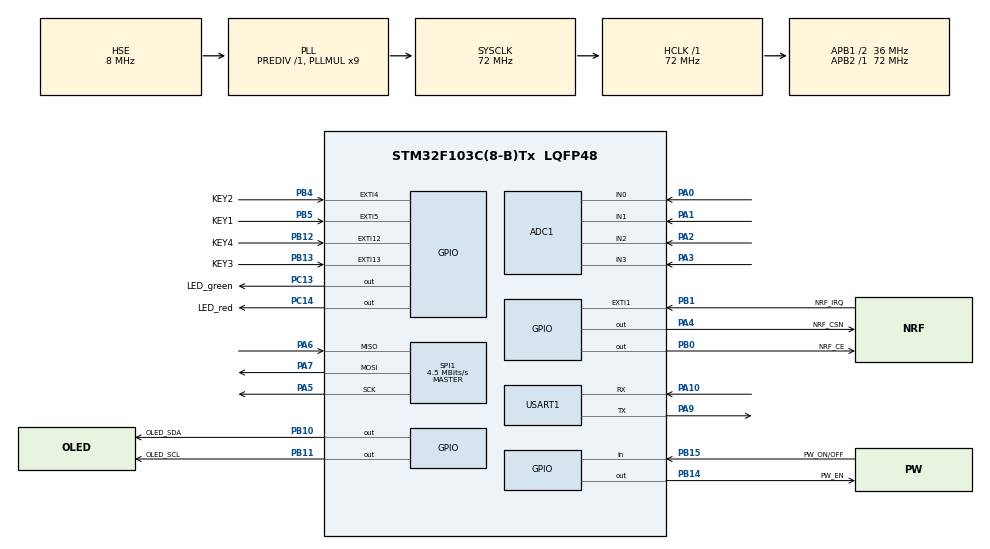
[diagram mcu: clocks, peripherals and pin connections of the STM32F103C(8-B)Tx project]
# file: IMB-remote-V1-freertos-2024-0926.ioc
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ADC1.Channel-0\#ChannelRegularConversion=ADC_CHANNEL_0
ADC1.Channel-1\#ChannelRegularConversion=ADC_CHANNEL_1
ADC1.Channel-2\#ChannelRegularConversion=ADC_CHANNEL_2
ADC1.Channel-3\#ChannelRegularConversion=ADC_CHANNEL_3
ADC1.ContinuousConvMode=ENABLE
ADC1.NbrOfConversion=4
ADC1.NbrOfConversionFlag=1
ADC1.Rank-0\#ChannelRegularConversion=1
ADC1.Rank-1\#ChannelRegularConversion=2
ADC1.Rank-2\#ChannelRegularConversion=3
ADC1.Rank-3\#ChannelRegularConversion=4
ADC1.SamplingTime-0\#ChannelRegularConversion=ADC_SAMPLETIME_239CYCLES_5
ADC1.SamplingTime-1\#ChannelRegularConversion=ADC_SAMPLETIME_239CYCLES_5
ADC1.SamplingTime-2\#ChannelRegularConversion=ADC_SAMPLETIME_239CYCLES_5
ADC1.SamplingTime-3\#ChannelRegularConversion=ADC_SAMPLETIME_239CYCLES_5
ADC1.master=1
Dma.ADC1.0.Direction=DMA_PERIPH_TO_MEMORY
Dma.ADC1.0.Instance=DMA1_Channel1
Dma.ADC1.0.MemDataAlignment=DMA_MDATAALIGN_HALFWORD
Dma.ADC1.0.MemInc=DMA_MINC_ENABLE
Dma.ADC1.0.Mode=DMA_CIRCULAR
Dma.ADC1.0.PeriphDataAlignment=DMA_PDATAALIGN_HALFWORD
Dma.ADC1.0.PeriphInc=DMA_PINC_DISABLE
Dma.ADC1.0.Priority=DMA_PRIORITY_LOW
Dma.Request0=ADC1
FREERTOS.Tasks01=PWR_Task,0,128,Start_PWR_Task,Default,NULL,Dynamic,NULL,NULL;LED_Task,-3,128,Start_LED_Task,Default,NULL,Dynamic,NULL,NULL;OLEDdisplay_Task,-3,128,StartT_OLEDdisplay_Task,Default,NULL,Dynamic,NULL,NULL;ReconnectionFly_Task,-3,128,Start_ReconnectionFly_Task,Default,NULL,Dynamic,NULL,NULL
FREERTOS.configMAX_TASK_NAME_LEN=25
FREERTOS.configTOTAL_HEAP_SIZE=4096
Mcu.Family=STM32F1
Mcu.Name=STM32F103C(8-B)Tx
Mcu.Package=LQFP48
NVIC.DMA1_Channel1_IRQn=true\:6\:0\:true\:false\:true\:true\:false\:true\:true
NVIC.EXTI15_10_IRQn=true\:7\:0\:true\:false\:true\:true\:true\:true\:true
NVIC.EXTI1_IRQn=true\:5\:0\:false\:false\:true\:true\:true\:true\:true
NVIC.EXTI4_IRQn=true\:7\:0\:true\:false\:true\:true\:true\:true\:true
NVIC.EXTI9_5_IRQn=true\:7\:0\:true\:false\:true\:true\:true\:true\:true
NVIC.PriorityGroup=NVIC_PRIORITYGROUP_4
PA0-WKUP.Signal=ADCx_IN0
PA1.Signal=ADCx_IN1
PA10.Mode=Asynchronous
PA10.Signal=USART1_RX
PA13.Mode=Serial_Wire
PA13.Signal=SYS_JTMS-SWDIO
PA14.Mode=Serial_Wire
PA14.Signal=SYS_JTCK-SWCLK
PA2.Signal=ADCx_IN2
PA3.Signal=ADCx_IN3
PA4.GPIO_Label=NRF_CSN
PA4.Signal=GPIO_Output
PA5.Mode=Full_Duplex_Master
PA5.Signal=SPI1_SCK
PA6.Mode=Full_Duplex_Master
PA6.Signal=SPI1_MISO
PA7.Mode=Full_Duplex_Master
PA7.Signal=SPI1_MOSI
PA9.Mode=Asynchronous
PA9.Signal=USART1_TX
PB0.GPIO_Label=NRF_CE
PB0.Signal=GPIO_Output
PB1.GPIO_Label=NRF_IRQ
PB1.GPIO_ModeDefaultEXTI=GPIO_MODE_IT_FALLING
PB1.GPIO_PuPd=GPIO_PULLUP
PB1.Signal=GPXTI1
PB10.GPIO_Label=OLED_SDA
PB10.GPIO_Speed=GPIO_SPEED_FREQ_HIGH
PB10.Signal=GPIO_Output
PB11.GPIO_Label=OLED_SCL
PB11.GPIO_Speed=GPIO_SPEED_FREQ_HIGH
PB11.Signal=GPIO_Output
PB12.GPIO_Label=KEY4
PB12.GPIO_ModeDefaultEXTI=GPIO_MODE_IT_FALLING
PB12.GPIO_PuPd=GPIO_PULLUP
PB12.Signal=GPXTI12
PB13.GPIO_Label=KEY3
PB13.GPIO_ModeDefaultEXTI=GPIO_MODE_IT_FALLING
PB13.GPIO_PuPd=GPIO_PULLUP
PB13.Signal=GPXTI13
PB14.GPIO_Label=PW_EN
PB14.GPIO_PuPd=GPIO_PULLDOWN
PB14.GPIO_Speed=GPIO_SPEED_FREQ_HIGH
PB14.Signal=GPIO_Output
PB15.GPIO_Label=PW_ON/OFF
PB15.GPIO_PuPd=GPIO_PULLUP
PB15.Signal=GPIO_Input
PB4.GPIO_Label=KEY2
PB4.GPIO_ModeDefaultEXTI=GPIO_MODE_IT_FALLING
PB4.GPIO_PuPd=GPIO_PULLUP
PB4.Signal=GPXTI4
PB5.GPIO_Label=KEY1
PB5.GPIO_ModeDefaultEXTI=GPIO_MODE_IT_FALLING
PB5.GPIO_PuPd=GPIO_PULLUP
PB5.Signal=GPXTI5
PC13-TAMPER-RTC.GPIO_Label=LED_green
PC13-TAMPER-RTC.GPIO_PuPd=GPIO_PULLUP
PC13-TAMPER-RTC.GPIO_Speed=GPIO_SPEED_FREQ_HIGH
PC13-TAMPER-RTC.PinState=GPIO_PIN_SET
PC13-TAMPER-RTC.Signal=GPIO_Output
PC14-OSC32_IN.GPIO_Label=LED_red
PC14-OSC32_IN.GPIO_PuPd=GPIO_PULLUP
PC14-OSC32_IN.GPIO_Speed=GPIO_SPEED_FREQ_HIGH
PC14-OSC32_IN.PinState=GPIO_PIN_SET
PC14-OSC32_IN.Signal=GPIO_Output
PD0-OSC_IN.Mode=HSE-External-Oscillator
PD0-OSC_IN.Signal=RCC_OSC_IN
PD1-OSC_OUT.Mode=HSE-External-Oscillator
PD1-OSC_OUT.Signal=RCC_OSC_OUT
ProjectManager.HeapSize=0x200
ProjectManager.StackSize=0x400
ProjectManager.TargetToolchain=MDK-ARM V5.32
RCC.ADCPresc=RCC_ADCPCLK2_DIV6
RCC.AHBFreq_Value=72000000
RCC.APB1CLKDivider=RCC_HCLK_DIV2
RCC.APB1Freq_Value=36000000
RCC.APB1TimFreq_Value=72000000
RCC.APB2Freq_Value=72000000
RCC.APB2TimFreq_Value=72000000
RCC.HCLKFreq_Value=72000000
RCC.PLLMUL=RCC_PLL_MUL9
RCC.PLLSourceVirtual=RCC_PLLSOURCE_HSE
RCC.SYSCLKFreq_VALUE=72000000
RCC.SYSCLKSource=RCC_SYSCLKSOURCE_PLLCLK
RCC.USBFreq_Value=72000000
SH.ADCx_IN0.0=ADC1_IN0,IN0
SH.ADCx_IN1.0=ADC1_IN1,IN1
SH.ADCx_IN2.0=ADC1_IN2,IN2
SH.ADCx_IN3.0=ADC1_IN3,IN3
SPI1.BaudRatePrescaler=SPI_BAUDRATEPRESCALER_16
SPI1.CRCCalculation=SPI_CRCCALCULATION_DISABLE
SPI1.CalculateBaudRate=4.5 MBits/s
SPI1.Direction=SPI_DIRECTION_2LINES
SPI1.Mode=SPI_MODE_MASTER
SPI1.VirtualType=VM_MASTER
USART1.VirtualMode=VM_ASYNC
VP_FREERTOS_VS_CMSIS_V1.Mode=CMSIS_V1
board=custom

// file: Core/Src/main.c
/* USER CODE BEGIN Header */
/**
  ******************************************************************************
  * @file           : main.c
  * @brief          : Main program body
  ******************************************************************************
  * @attention
  *
  * Copyright (c) 2024 STMicroelectronics.
  * All rights reserved.
  *
  * This software is licensed under terms that can be found in the LICENSE file
  * in the root directory of this software component.
  * If no LICENSE file comes with this software, it is provided AS-IS.
  *
  ******************************************************************************
  */
/* USER CODE END Header */
#include "main.h"
#include "cmsis_os.h"
#include "adc.h"
#include "dma.h"
#include "spi.h"
#include "usart.h"
#include "gpio.h"

/* USER CODE BEGIN Includes */
#include "PWR_ON_OFF.h"
#include "PWR_ON.h"
#include "oled.h"
#include "string.h"
#include "stdio.h"
#include "si24r1.h"
#include "oleddispaly.h"

/* USER CODE END Includes */

/* USER CODE BEGIN PTD */
uint16_t AdcBuf[4]= {0};

/* USER CODE END PTD */

void SystemClock_Config(void);
void MX_FREERTOS_Init(void);

int main(void)
{

  /* MCU Configuration--------------------------------------------------------*/

  /* Reset of all peripherals, Initializes the Flash interface and the Systick. */
  HAL_Init();

  /* Configure the system clock */
  SystemClock_Config();

  /* Initialize all configured peripherals */
  MX_GPIO_Init();
  MX_DMA_Init();
  MX_SPI1_Init();
  MX_USART1_UART_Init();
  MX_ADC1_Init();
  /* USER CODE BEGIN 2 */
    delay_init(72);
    PWR_ON();//开机
    OLED_Init();//OLED的初始化
    SI24R1_Config();
    MX_ADC1_Init();
    MX_DMA_Init();

    HAL_ADCEx_Calibration_Start(&hadc1);
    HAL_ADC_Start_DMA(&hadc1,(uint32_t *)ADC_ConvertedValue,sizeof(ADC_ConvertedValue));
    WaitFlY_Connection();
    Display_init();

//  printf("准备开始执行动作\r\n");//串口测试完毕，这个printf语句可以进行注释。

  /* USER CODE END 2 */

  /* Call init function for freertos objects (in cmsis_os2.c) */
  MX_FREERTOS_Init();

  /* Start scheduler */
  osKernelStart();

  /* We should never get here as control is now taken by the scheduler */

  /* Infinite loop */
    while (1)
    {

    }
}

void SystemClock_Config(void)
{
  RCC_OscInitTypeDef RCC_OscInitStruct = {0};
  RCC_ClkInitTypeDef RCC_ClkInitStruct = {0};
  RCC_PeriphCLKInitTypeDef PeriphClkInit = {0};

  /** Initializes the RCC Oscillators according to the specified parameters
  * in the RCC_OscInitTypeDef structure.
  */
  RCC_OscInitStruct.OscillatorType = RCC_OSCILLATORTYPE_HSE;
  RCC_OscInitStruct.HSEState = RCC_HSE_ON;
  RCC_OscInitStruct.HSEPredivValue = RCC_HSE_PREDIV_DIV1;
  RCC_OscInitStruct.HSIState = RCC_HSI_ON;
  RCC_OscInitStruct.PLL.PLLState = RCC_PLL_ON;
  RCC_OscInitStruct.PLL.PLLSource = RCC_PLLSOURCE_HSE;
  RCC_OscInitStruct.PLL.PLLMUL = RCC_PLL_MUL9;
  if (HAL_RCC_OscConfig(&RCC_OscInitStruct) != HAL_OK)
  {
    Error_Handler();
  }

  /** Initializes the CPU, AHB and APB buses clocks
  */
  RCC_ClkInitStruct.ClockType = RCC_CLOCKTYPE_HCLK|RCC_CLOCKTYPE_SYSCLK
                              |RCC_CLOCKTYPE_PCLK1|RCC_CLOCKTYPE_PCLK2;
  RCC_ClkInitStruct.SYSCLKSource = RCC_SYSCLKSOURCE_PLLCLK;
  RCC_ClkInitStruct.AHBCLKDivider = RCC_SYSCLK_DIV1;
  RCC_ClkInitStruct.APB1CLKDivider = RCC_HCLK_DIV2;
  RCC_ClkInitStruct.APB2CLKDivider = RCC_HCLK_DIV1;

  if (HAL_RCC_ClockConfig(&RCC_ClkInitStruct, FLASH_LATENCY_2) != HAL_OK)
  {
    Error_Handler();
  }
  PeriphClkInit.PeriphClockSelection = RCC_PERIPHCLK_ADC;
  PeriphClkInit.AdcClockSelection = RCC_ADCPCLK2_DIV6;
  if (HAL_RCCEx_PeriphCLKConfig(&PeriphClkInit) != HAL_OK)
  {
    Error_Handler();
  }
}

void Error_Handler(void)
{
    __disable_irq();
    while (1)
    {
    }
}

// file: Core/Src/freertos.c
/* USER CODE BEGIN Header */
/**
  ******************************************************************************
  * File Name          : freertos.c
  * Description        : Code for freertos applications
  ******************************************************************************
  * @attention
  *
  * Copyright (c) 2024 STMicroelectronics.
  * All rights reserved.
  *
  * This software is licensed under terms that can be found in the LICENSE file
  * in the root directory of this software component.
  * If no LICENSE file comes with this software, it is provided AS-IS.
  *
  ******************************************************************************
  */
/* USER CODE END Header */

#include "FreeRTOS.h"
#include "task.h"
#include "main.h"
#include "cmsis_os.h"

/* USER CODE BEGIN Includes */
#include "PWR_ON_OFF.h"
#include "oled.h"
#include "oleddispaly.h"
#include "si24r1.h"
#include "adc.h"

/* USER CODE END Includes */

osThreadId PWR_TaskHandle;
osThreadId LED_TaskHandle;
osThreadId OLEDdisplay_TaskHandle;
osThreadId ReconnectionFly_TaskHandle;

void Start_PWR_Task(void const * argument);
void Start_LED_Task(void const * argument);
void StartT_OLEDdisplay_Task(void const * argument);
void Start_ReconnectionFly_Task(void const * argument);

void MX_FREERTOS_Init(void); /* (MISRA C 2004 rule 8.1) */

/* GetIdleTaskMemory prototype (linked to static allocation support) */
void vApplicationGetIdleTaskMemory( StaticTask_t **ppxIdleTaskTCBBuffer, StackType_t **ppxIdleTaskStackBuffer, uint32_t *pulIdleTaskStackSize );

/* USER CODE BEGIN GET_IDLE_TASK_MEMORY */
static StaticTask_t xIdleTaskTCBBuffer;
static StackType_t xIdleStack[configMINIMAL_STACK_SIZE];

void vApplicationGetIdleTaskMemory( StaticTask_t **ppxIdleTaskTCBBuffer, StackType_t **ppxIdleTaskStackBuffer, uint32_t *pulIdleTaskStackSize )
{
    *ppxIdleTaskTCBBuffer = &xIdleTaskTCBBuffer;
    *ppxIdleTaskStackBuffer = &xIdleStack[0];
    *pulIdleTaskStackSize = configMINIMAL_STACK_SIZE;
    /* place for user code */
}
/* USER CODE END GET_IDLE_TASK_MEMORY */

void MX_FREERTOS_Init(void) {

  /* Create the thread(s) */
  /* definition and creation of PWR_Task */
  osThreadDef(PWR_Task, Start_PWR_Task, osPriorityNormal, 0, 128);
  PWR_TaskHandle = osThreadCreate(osThread(PWR_Task), NULL);

  /* definition and creation of LED_Task */
  osThreadDef(LED_Task, Start_LED_Task, osPriorityIdle, 0, 128);
  LED_TaskHandle = osThreadCreate(osThread(LED_Task), NULL);

  /* definition and creation of OLEDdisplay_Task */
  osThreadDef(OLEDdisplay_Task, StartT_OLEDdisplay_Task, osPriorityIdle, 0, 128);
  OLEDdisplay_TaskHandle = osThreadCreate(osThread(OLEDdisplay_Task), NULL);

  /* definition and creation of ReconnectionFly_Task */
  osThreadDef(ReconnectionFly_Task, Start_ReconnectionFly_Task, osPriorityIdle, 0, 128);
  ReconnectionFly_TaskHandle = osThreadCreate(osThread(ReconnectionFly_Task), NULL);

}

void Start_PWR_Task(void const * argument)
{
  /* USER CODE BEGIN Start_PWR_Task */
    /* Infinite loop */
    for(;;)
    {
        PWR_ON_OFF();
        osDelay(20);
    }
  /* USER CODE END Start_PWR_Task */
}

void Start_LED_Task(void const * argument)
{
  /* USER CODE BEGIN Start_LED_Task */
    /* Infinite loop */
    for(;;)
    {
        HAL_GPIO_TogglePin(LED_red_GPIO_Port,LED_red_Pin);
//	  HAL_GPIO_TogglePin(LED_green_GPIO_Port,LED_green_Pin);
//        printf("PA0的值：%d\r\n",AD_value[0]);//根据遥感电位器的图，这个是上下。，数值正确，遥感下边是最小值，上边是最大值
//		printf("PA1的值：%d\r\n",AD_value[1]);//根据遥感电位器的图，这个是上下。，数值正确，遥感下边是最小值，上边是最大值
//		printf("PA2的值：%d\r\n",AD_value[2]);//根据遥感电位器的图，这个是上下。，数值正确，遥感下边是最小值，上边是最大值
//		printf("PA3的值：%d\r\n",AD_value[3]);//根据遥感电位器的图，这个是上下。，数值正确，遥感下边是最小值，上边是最大值
        osDelay(500);
    }
  /* USER CODE END Start_LED_Task */
}

void StartT_OLEDdisplay_Task(void const * argument)
{
  /* USER CODE BEGIN StartT_OLEDdisplay_Task */
    /* Infinite loop */
    for(;;)
    {
        Display_Update();//OLED更新显示
//	    osDelay(1000);
    }
  /* USER CODE END StartT_OLEDdisplay_Task */
}

void Start_ReconnectionFly_Task(void const * argument)
{
  /* USER CODE BEGIN Start_ReconnectionFly_Task */
    /* Infinite loop */
    for(;;)
    {
        ReconnectionFly();//断线重连
//        osDelay(2);
    }
  /* USER CODE END Start_ReconnectionFly_Task */
}
